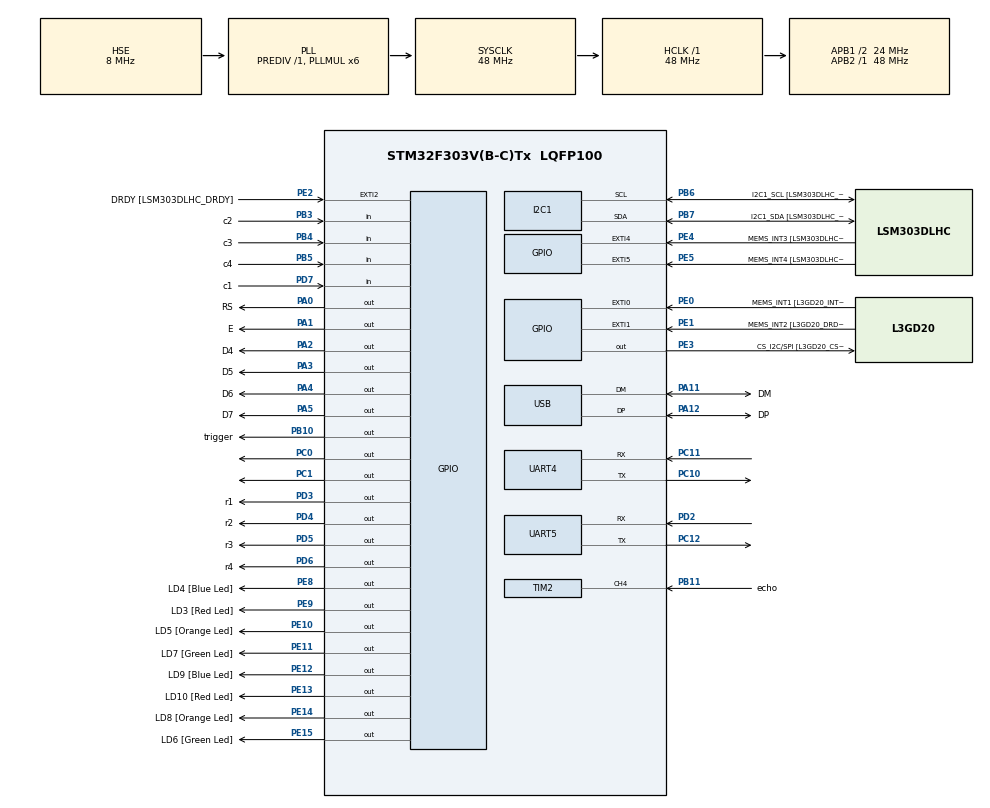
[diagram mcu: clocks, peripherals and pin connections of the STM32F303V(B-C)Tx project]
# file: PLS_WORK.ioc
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I2C1.Timing=0x2000090E
I2C1.Timing-I2C=0x2000090E
Mcu.Family=STM32F3
Mcu.Name=STM32F303V(B-C)Tx
Mcu.Package=LQFP100
NVIC.PriorityGroup=NVIC_PRIORITYGROUP_0
NVIC.TIM2_IRQn=true\:0\:0\:false\:false\:true\:true\:true\:true
NVIC.TIM4_IRQn=true\:0\:0\:false\:false\:true\:true\:true\:true
NVIC.UART4_IRQn=true\:0\:0\:false\:false\:true\:true\:true\:true
NVIC.UART5_IRQn=true\:0\:0\:false\:false\:true\:true\:true\:true
PA0.GPIO_Label=RS
PA0.Signal=GPIO_Output
PA1.GPIO_Label=E
PA1.Signal=GPIO_Output
PA11.GPIO_Label=DM
PA11.Mode=Device
PA11.Signal=USB_DM
PA12.GPIO_Label=DP
PA12.Mode=Device
PA12.Signal=USB_DP
PA13.GPIO_Label=SWDIO
PA13.Mode=Serial_Wire
PA13.Signal=SYS_JTMS-SWDIO
PA14.GPIO_Label=SWCLK
PA14.Mode=Serial_Wire
PA14.Signal=SYS_JTCK-SWCLK
PA2.GPIO_Label=D4
PA2.Signal=GPIO_Output
PA3.GPIO_Label=D5
PA3.Signal=GPIO_Output
PA4.GPIO_Label=D6
PA4.Signal=GPIO_Output
PA5.GPIO_Label=D7
PA5.Signal=GPIO_Output
PA6.GPIO_Label=SPI1_MISO [L3GD20_SA0/SDO]
PA6.Signal=SPI1_MISO
PA7.GPIO_Label=SPI1_MISO [L3GD20_SDA/SDI/SDO]
PA7.Signal=SPI1_MOSI
PB10.GPIO_Label=trigger
PB10.Signal=GPIO_Output
PB11.GPIO_Label=echo
PB11.Signal=S_TIM2_CH4
PB3.GPIO_Label=c2
PB3.GPIO_PuPd=GPIO_PULLUP
PB3.Signal=GPIO_Input
PB4.GPIO_Label=c3
PB4.GPIO_PuPd=GPIO_PULLUP
PB4.Signal=GPIO_Input
PB5.GPIO_Label=c4
PB5.GPIO_PuPd=GPIO_PULLUP
PB5.Signal=GPIO_Input
PB6.GPIO_Label=I2C1_SCL [LSM303DLHC_SCL]
PB6.GPIO_Pu=GPIO_PULLUP
PB6.Mode=I2C
PB6.Signal=I2C1_SCL
PB7.GPIO_Label=I2C1_SDA [LSM303DLHC_SDA]
PB7.GPIO_Pu=GPIO_PULLUP
PB7.Mode=I2C
PB7.Signal=I2C1_SDA
PC0.Signal=GPIO_Output
PC1.Signal=GPIO_Output
PC10.Mode=Asynchronous
PC10.Signal=UART4_TX
PC11.Mode=Asynchronous
PC11.Signal=UART4_RX
PC12.Mode=Asynchronous
PC12.Signal=UART5_TX
PC14-OSC32_IN.GPIO_Label=OSC32_IN
PC14-OSC32_IN.Signal=RCC_OSC32_IN
PC15-OSC32_OUT.GPIO_Label=OSC32_OUT
PC15-OSC32_OUT.Signal=RCC_OSC32_OUT
PD2.Mode=Asynchronous
PD2.Signal=UART5_RX
PD3.GPIO_Label=r1
PD3.Signal=GPIO_Output
PD4.GPIO_Label=r2
PD4.Signal=GPIO_Output
PD5.GPIO_Label=r3
PD5.Signal=GPIO_Output
PD6.GPIO_Label=r4
PD6.Signal=GPIO_Output
PD7.GPIO_Label=c1
PD7.GPIO_PuPd=GPIO_PULLUP
PD7.Signal=GPIO_Input
PE0.GPIO_Label=MEMS_INT1 [L3GD20_INT1]
PE0.GPIO_ModeDefaultEXTI=GPIO_MODE_EVT_RISING
PE0.Signal=GPXTI0
PE1.GPIO_Label=MEMS_INT2 [L3GD20_DRDY/INT2]
PE1.GPIO_ModeDefaultEXTI=GPIO_MODE_EVT_RISING
PE1.Signal=GPXTI1
PE10.GPIO_Label=LD5 [Orange Led]
PE10.Signal=GPIO_Output
PE11.GPIO_Label=LD7 [Green Led]
PE11.Signal=GPIO_Output
PE12.GPIO_Label=LD9 [Blue Led]
PE12.Signal=GPIO_Output
PE13.GPIO_Label=LD10 [Red Led]
PE13.Signal=GPIO_Output
PE14.GPIO_Label=LD8 [Orange Led]
PE14.Signal=GPIO_Output
PE15.GPIO_Label=LD6 [Green Led]
PE15.Signal=GPIO_Output
PE2.GPIO_Label=DRDY [LSM303DLHC_DRDY]
PE2.GPIO_ModeDefaultEXTI=GPIO_MODE_EVT_RISING
PE2.Signal=GPXTI2
PE3.GPIO_Label=CS_I2C/SPI [L3GD20_CS_I2C/SPI]
PE3.Signal=GPIO_Output
PE4.GPIO_Label=MEMS_INT3 [LSM303DLHC_INT1]
PE4.GPIO_ModeDefaultEXTI=GPIO_MODE_EVT_RISING
PE4.Signal=GPXTI4
PE5.GPIO_Label=MEMS_INT4 [LSM303DLHC_INT2]
PE5.GPIO_ModeDefaultEXTI=GPIO_MODE_EVT_RISING
PE5.Signal=GPXTI5
PE8.GPIO_Label=LD4 [Blue Led]
PE8.Signal=GPIO_Output
PE9.GPIO_Label=LD3 [Red Led]
PE9.Signal=GPIO_Output
PF0-OSC_IN.GPIO_Label=OSC_IN
PF0-OSC_IN.Mode=HSE-External-Clock-Source
PF0-OSC_IN.Signal=RCC_OSC_IN
PF1-OSC_OUT.GPIO_Label=OSC_OUT
PF1-OSC_OUT.Signal=RCC_OSC_OUT
ProjectManager.HeapSize=0x200
ProjectManager.StackSize=0x400
ProjectManager.TargetToolchain=STM32CubeIDE
RCC.AHBFreq_Value=48000000
RCC.APB1CLKDivider=RCC_HCLK_DIV2
RCC.APB1Freq_Value=24000000
RCC.APB1TimFreq_Value=48000000
RCC.APB2Freq_Value=48000000
RCC.APB2TimFreq_Value=48000000
RCC.CortexFreq_Value=48000000
RCC.HCLKFreq_Value=48000000
RCC.HSE_VALUE=8000000
RCC.HSI_VALUE=8000000
RCC.LSE_VALUE=32768
RCC.PLLMUL=RCC_PLL_MUL6
RCC.SYSCLKFreq_VALUE=48000000
RCC.SYSCLKSourceVirtual=RCC_SYSCLKSOURCE_PLLCLK
RCC.USBFreq_Value=48000000
SH.S_TIM2_CH4.0=TIM2_CH4,Input_Capture4_from_TI4
TIM2.Channel-Input_Capture4_from_TI4=TIM_CHANNEL_4
TIM2.Period=65535
TIM2.Prescaler=72-1
TIM4.Period=44999
TIM4.Prescaler=9599
VP_TIM4_VS_ClockSourceINT.Mode=Internal
board=STM32F3DISCOVERY

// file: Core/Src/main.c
/* USER CODE BEGIN Header */
/**
  ******************************************************************************
  * @file           : main.c
  * @brief          : Main program body
  ******************************************************************************
  * @attention
  *
  * Copyright (c) 2025 STMicroelectronics.
  * All rights reserved.
  *
  * This software is licensed under terms that can be found in the LICENSE file
  * in the root directory of this software component.
  * If no LICENSE file comes with this software, it is provided AS-IS.
  *
  ******************************************************************************
  */
/* USER CODE END Header */
#include "main.h"

/* USER CODE BEGIN Includes */
#include "string.h"
#include "lcd.h"
/* USER CODE END Includes */

/* USER CODE BEGIN PD */
//#define RX_BUFFER_SIZE 10
//#define TIMER_TIMEOUT 7000  // Timeout in millisecondi (5 secondi)
/* USER CODE END PD */

I2C_HandleTypeDef hi2c1;

TIM_HandleTypeDef htim2;
TIM_HandleTypeDef htim4;

UART_HandleTypeDef huart4;
UART_HandleTypeDef huart5;

PCD_HandleTypeDef hpcd_USB_FS;

/* USER CODE BEGIN PV */

int32_t ic_val1 = 0;
uint32_t ic_val2 = 0;
uint8_t is_first_captured = 0;
uint32_t difference = 0;
float distance = 50;
int cont_a = 0;
char codice_digitato[MAX_CODICE];
uint8_t indice = 0;
//char msg[] ="Put 1";
//char msg1[] ="Put 2";//const char msg[] = "ALARM \r\n";
const char codice_corretto[] = "1926";
//const char* error_msg = "Fault\r\n";
//suint8_t rx_buffer[RX_BUFFER_SIZE];
uint32_t last_message_time = 0;  // Tempo dell'ultimo messaggio "tutto_ok"
uint8_t timer_started = 0;       // Flag per indicare se il timer è stato avviato
uint8_t timeout_flag = 0;        // Flag per indicare se è scaduto il timeout
StatoSistema stato_corrente = STATO_DISARMATO;
char tasto;
uint32_t Alarm = 0x42;
uint32_t Stop = 0x44;
uint32_t Wake = 0x46;
uint32_t rx_buffer;

/* USER CODE END PV */

void SystemClock_Config(void);
static void MX_GPIO_Init(void);
static void MX_I2C1_Init(void);
static void MX_USB_PCD_Init(void);
static void MX_TIM2_Init(void);
static void MX_TIM4_Init(void);
static void MX_UART4_Init(void);
static void MX_UART5_Init(void);
/* USER CODE BEGIN PFP */
void HCSR04_Trigger(void);

/* USER CODE END PFP */

/* USER CODE BEGIN 0 */
uint8_t verifica_codice(void) {
    return (strcmp(codice_digitato, codice_corretto) == 0);
}

#define KEYPAD_PORT GPIOD

const char tasti[4][4] = {
    {'1', '2', '3', 'A'},
    {'4', '5', '6', 'B'},
    {'7', '8', '9', 'C'},
    {'*', '0', '#', 'D'}
};

uint16_t righe[4] = {r1_Pin, r2_Pin, r3_Pin, r4_Pin}; // R1-R4
uint16_t colonne[4] = {c1_Pin, c2_Pin, c3_Pin, c4_Pin}; // C1-C4
GPIO_TypeDef* colonne_port[4] = {GPIOD, GPIOB, GPIOB, GPIOB};
char leggi_tasto(void) {
    for (int r = 0; r < 4; r++) {
        // Imposta tutte le righe alte
        for (int i = 0; i < 4; i++) {
            HAL_GPIO_WritePin(GPIOD, righe[i], GPIO_PIN_SET);
        }

        // Porta a 0 solo la riga corrente
        HAL_GPIO_WritePin(GPIOD, righe[r], GPIO_PIN_RESET);
        HAL_Delay(1);

        // Scansiona le colonne
        for (int c = 0; c < 4; c++) {
            if (HAL_GPIO_ReadPin(colonne_port[c], colonne[c]) == GPIO_PIN_RESET) {
                while (HAL_GPIO_ReadPin(colonne_port[c], colonne[c]) == GPIO_PIN_RESET); // attesa rilascio
                HAL_Delay(10); // debounce
                gestisci_tasto(tasti[r][c]);
                return tasti[r][c];
            }
        }
    }
    return '\0'; // Nessun tasto premuto
}

void HCSR04_Trigger(void) {
    HAL_GPIO_WritePin(trigger_GPIO_Port, trigger_Pin, GPIO_PIN_RESET);
    HAL_Delay(1);  // 1 ms
    HAL_GPIO_WritePin(trigger_GPIO_Port, trigger_Pin, GPIO_PIN_SET);
    HAL_Delay(0.01);  // 10 µs
    HAL_GPIO_WritePin(trigger_GPIO_Port, trigger_Pin, GPIO_PIN_RESET);
}
/* USER CODE END 0 */

int main(void)
{

  /* MCU Configuration--------------------------------------------------------*/

  /* Reset of all peripherals, Initializes the Flash interface and the Systick. */
  HAL_Init();

  /* Configure the system clock */
  SystemClock_Config();

  /* Initialize all configured peripherals */
  MX_GPIO_Init();
  MX_I2C1_Init();
  MX_USB_PCD_Init();
  MX_TIM2_Init();
  MX_TIM4_Init();
  MX_UART4_Init();
  MX_UART5_Init();

  /* USER CODE BEGIN 2 */
  LCD_Init();
   HAL_GPIO_WritePin(GPIOE, LD6_Pin, GPIO_PIN_SET);
   HAL_GPIO_WritePin(GPIOE, LD3_Pin, GPIO_PIN_RESET);
   HAL_GPIO_WritePin(GPIOC, GPIO_PIN_0, GPIO_PIN_SET); // PC0 ON
   HAL_GPIO_WritePin(GPIOE, LD4_Pin, GPIO_PIN_RESET);

   HAL_UART_Receive_IT(&huart4, (uint8_t*)&rx_buffer, sizeof(uint32_t));

  /* USER CODE END 2 */

  /* Infinite loop */
  while (1)
  {
	  /* USER CODE END WHILE */
	  	  tasto = leggi_tasto();

	  	        if (tasto != '\0') {

	  	            if (tasto == '#') {
	  	                codice_digitato[indice] = '\0';

	  	                if (verifica_codice()) {
	  	                	LCD_Set_Cursor(1, 0);
	  	                	LCD_Send_String("                ");

	  	                    if (stato_corrente == STATO_DISARMATO) {
	  	                        stato_corrente = STATO_ARMATO;
	  	                        LCD_Set_Cursor(1, 0);
	  	                        LCD_Send_String("ARMATO");
	  	                        HAL_GPIO_WritePin(GPIOE, LD3_Pin, GPIO_PIN_SET);   // LED rosso ON
	  	                        HAL_GPIO_WritePin(GPIOE, LD6_Pin, GPIO_PIN_RESET); // LED verde OFF
	  	                        HAL_GPIO_WritePin(GPIOC, GPIO_PIN_0, GPIO_PIN_RESET); // PC0 OFF
	  	                        HAL_GPIO_WritePin(GPIOC, GPIO_PIN_1, GPIO_PIN_SET); // PC1 ON

	  	                    } else {
	  	                        stato_corrente = STATO_DISARMATO;
	  	                        cont_a = 0;
	  	                        LCD_Set_Cursor(1, 0);
	  	                        LCD_Send_String("DISARMATO");
	  	                        timer_started = 0;
	  	                        HAL_TIM_Base_Stop_IT(&htim4);  // Ferma il timer

	  	                        //HAL_TIM_Base_DeInit(&htim4);
	  	                        HAL_GPIO_WritePin(GPIOE, LD3_Pin, GPIO_PIN_RESET); // LED blu OFF
	  	                        HAL_GPIO_WritePin(GPIOE, LD6_Pin, GPIO_PIN_SET);   // LED rosso ON
	  	                        HAL_GPIO_WritePin(GPIOC, GPIO_PIN_0, GPIO_PIN_SET); // PC0 ON
	  	                        HAL_GPIO_WritePin(GPIOC, GPIO_PIN_1, GPIO_PIN_RESET); // PC1 OFF
	  	                        HAL_UART_Transmit(&huart4, (uint8_t*)&Stop, sizeof(uint32_t), HAL_MAX_DELAY);//stop a B
	  	                        HAL_UART_Transmit(&huart5, (uint8_t*)&Stop, sizeof(uint32_t), HAL_MAX_DELAY);//stop a C

	  	                    }
	  	                } //else {
	  	                    //HAL_UART_Transmit(&huart2, (uint8_t*)"Codice errato\r\n", 16, HAL_MAX_DELAY);

	  	                indice = 0;

	  	            } else if (tasto == '*') {
	  	                indice = 0; // reset
	  	            } else {
	  	                if (indice < MAX_CODICE - 1) {
	  	                    codice_digitato[indice++] = tasto;

	  	                }
	  	            }
	  	        }

	  	        // LED di stato
	  	        if (stato_corrente == STATO_ARMATO) {
	  	            HCSR04_Trigger();
	  	                                   HAL_TIM_IC_Start_IT(&htim2, TIM_CHANNEL_4);

	  	                                  HAL_Delay(10);

	  	                                  if (distance < 30.0f) {

	  	                                      HAL_GPIO_WritePin(GPIOE, LD4_Pin, GPIO_PIN_SET);
	  	                                      cont_a++;
	  	  									if(cont_a == 1){
	  	  										LCD_Set_Cursor(1, 0);
	  	  										LCD_Send_String("ALLARME");

	  	  				                        HAL_UART_Transmit(&huart4, (uint8_t*)&Alarm, sizeof(uint32_t), HAL_MAX_DELAY);
	  	  					                   // 2 è alarm
	  	  					                   //HAL_GPIO_WritePin(GPIOE, LD3_Pin, GPIO_PIN_RESET);
	  	  									}
	  	                                  } else {

	  	                                      HAL_GPIO_WritePin(GPIOE, LD4_Pin, GPIO_PIN_RESET);

	  	                                  }

	  	        }
	  	        /*
	  	        if (timeout_flag) {
	  	                    // Timeout scaduto, invia il messaggio di errore a C tramite USART3
	  	                    HAL_UART_Transmit(&huart5, (uint8_t*)error_msg, strlen(error_msg), 1000);

	  	                    // Resetta il flag per il prossimo controllo
	  	                    timeout_flag = 0;
	  	                }
	  			*/
	  	        HAL_Delay(50);  // debounce

	    }

}

void SystemClock_Config(void)
{
  RCC_OscInitTypeDef RCC_OscInitStruct = {0};
  RCC_ClkInitTypeDef RCC_ClkInitStruct = {0};
  RCC_PeriphCLKInitTypeDef PeriphClkInit = {0};

  /** Initializes the RCC Oscillators according to the specified parameters
  * in the RCC_OscInitTypeDef structure.
  */
  RCC_OscInitStruct.OscillatorType = RCC_OSCILLATORTYPE_HSI|RCC_OSCILLATORTYPE_HSE;
  RCC_OscInitStruct.HSEState = RCC_HSE_BYPASS;
  RCC_OscInitStruct.HSEPredivValue = RCC_HSE_PREDIV_DIV1;
  RCC_OscInitStruct.HSIState = RCC_HSI_ON;
  RCC_OscInitStruct.HSICalibrationValue = RCC_HSICALIBRATION_DEFAULT;
  RCC_OscInitStruct.PLL.PLLState = RCC_PLL_ON;
  RCC_OscInitStruct.PLL.PLLSource = RCC_PLLSOURCE_HSE;
  RCC_OscInitStruct.PLL.PLLMUL = RCC_PLL_MUL6;
  if (HAL_RCC_OscConfig(&RCC_OscInitStruct) != HAL_OK)
  {
    Error_Handler();
  }

  /** Initializes the CPU, AHB and APB buses clocks
  */
  RCC_ClkInitStruct.ClockType = RCC_CLOCKTYPE_HCLK|RCC_CLOCKTYPE_SYSCLK
                              |RCC_CLOCKTYPE_PCLK1|RCC_CLOCKTYPE_PCLK2;
  RCC_ClkInitStruct.SYSCLKSource = RCC_SYSCLKSOURCE_PLLCLK;
  RCC_ClkInitStruct.AHBCLKDivider = RCC_SYSCLK_DIV1;
  RCC_ClkInitStruct.APB1CLKDivider = RCC_HCLK_DIV2;
  RCC_ClkInitStruct.APB2CLKDivider = RCC_HCLK_DIV1;

  if (HAL_RCC_ClockConfig(&RCC_ClkInitStruct, FLASH_LATENCY_1) != HAL_OK)
  {
    Error_Handler();
  }
  PeriphClkInit.PeriphClockSelection = RCC_PERIPHCLK_USB|RCC_PERIPHCLK_UART4
                              |RCC_PERIPHCLK_UART5|RCC_PERIPHCLK_I2C1;
  PeriphClkInit.Uart4ClockSelection = RCC_UART4CLKSOURCE_PCLK1;
  PeriphClkInit.Uart5ClockSelection = RCC_UART5CLKSOURCE_PCLK1;
  PeriphClkInit.I2c1ClockSelection = RCC_I2C1CLKSOURCE_HSI;
  PeriphClkInit.USBClockSelection = RCC_USBCLKSOURCE_PLL;
  if (HAL_RCCEx_PeriphCLKConfig(&PeriphClkInit) != HAL_OK)
  {
    Error_Handler();
  }
}

static void MX_I2C1_Init(void)
{

  hi2c1.Instance = I2C1;
  hi2c1.Init.Timing = 0x2000090E;
  hi2c1.Init.OwnAddress1 = 0;
  hi2c1.Init.AddressingMode = I2C_ADDRESSINGMODE_7BIT;
  hi2c1.Init.DualAddressMode = I2C_DUALADDRESS_DISABLE;
  hi2c1.Init.OwnAddress2 = 0;
  hi2c1.Init.OwnAddress2Masks = I2C_OA2_NOMASK;
  hi2c1.Init.GeneralCallMode = I2C_GENERALCALL_DISABLE;
  hi2c1.Init.NoStretchMode = I2C_NOSTRETCH_DISABLE;
  if (HAL_I2C_Init(&hi2c1) != HAL_OK)
  {
    Error_Handler();
  }

  /** Configure Analogue filter
  */
  if (HAL_I2CEx_ConfigAnalogFilter(&hi2c1, I2C_ANALOGFILTER_ENABLE) != HAL_OK)
  {
    Error_Handler();
  }

  /** Configure Digital filter
  */
  if (HAL_I2CEx_ConfigDigitalFilter(&hi2c1, 0) != HAL_OK)
  {
    Error_Handler();
  }

}

static void MX_TIM2_Init(void)
{

  TIM_MasterConfigTypeDef sMasterConfig = {0};
  TIM_IC_InitTypeDef sConfigIC = {0};

  htim2.Instance = TIM2;
  htim2.Init.Prescaler = 72-1;
  htim2.Init.CounterMode = TIM_COUNTERMODE_UP;
  htim2.Init.Period = 65535;
  htim2.Init.ClockDivision = TIM_CLOCKDIVISION_DIV1;
  htim2.Init.AutoReloadPreload = TIM_AUTORELOAD_PRELOAD_DISABLE;
  if (HAL_TIM_IC_Init(&htim2) != HAL_OK)
  {
    Error_Handler();
  }
  sMasterConfig.MasterOutputTrigger = TIM_TRGO_RESET;
  sMasterConfig.MasterSlaveMode = TIM_MASTERSLAVEMODE_DISABLE;
  if (HAL_TIMEx_MasterConfigSynchronization(&htim2, &sMasterConfig) != HAL_OK)
  {
    Error_Handler();
  }
  sConfigIC.ICPolarity = TIM_INPUTCHANNELPOLARITY_RISING;
  sConfigIC.ICSelection = TIM_ICSELECTION_DIRECTTI;
  sConfigIC.ICPrescaler = TIM_ICPSC_DIV1;
  sConfigIC.ICFilter = 0;
  if (HAL_TIM_IC_ConfigChannel(&htim2, &sConfigIC, TIM_CHANNEL_4) != HAL_OK)
  {
    Error_Handler();
  }

}

static void MX_TIM4_Init(void)
{

  TIM_ClockConfigTypeDef sClockSourceConfig = {0};
  TIM_MasterConfigTypeDef sMasterConfig = {0};

  htim4.Instance = TIM4;
  htim4.Init.Prescaler = 9599;
  htim4.Init.CounterMode = TIM_COUNTERMODE_UP;
  htim4.Init.Period = 44999;
  htim4.Init.ClockDivision = TIM_CLOCKDIVISION_DIV1;
  htim4.Init.AutoReloadPreload = TIM_AUTORELOAD_PRELOAD_DISABLE;
  if (HAL_TIM_Base_Init(&htim4) != HAL_OK)
  {
    Error_Handler();
  }
  sClockSourceConfig.ClockSource = TIM_CLOCKSOURCE_INTERNAL;
  if (HAL_TIM_ConfigClockSource(&htim4, &sClockSourceConfig) != HAL_OK)
  {
    Error_Handler();
  }
  sMasterConfig.MasterOutputTrigger = TIM_TRGO_RESET;
  sMasterConfig.MasterSlaveMode = TIM_MASTERSLAVEMODE_DISABLE;
  if (HAL_TIMEx_MasterConfigSynchronization(&htim4, &sMasterConfig) != HAL_OK)
  {
    Error_Handler();
  }

}

static void MX_UART4_Init(void)
{

  huart4.Instance = UART4;
  huart4.Init.BaudRate = 115200;
  huart4.Init.WordLength = UART_WORDLENGTH_8B;
  huart4.Init.StopBits = UART_STOPBITS_1;
  huart4.Init.Parity = UART_PARITY_NONE;
  huart4.Init.Mode = UART_MODE_TX_RX;
  huart4.Init.HwFlowCtl = UART_HWCONTROL_NONE;
  huart4.Init.OverSampling = UART_OVERSAMPLING_16;
  huart4.Init.OneBitSampling = UART_ONE_BIT_SAMPLE_DISABLE;
  huart4.AdvancedInit.AdvFeatureInit = UART_ADVFEATURE_NO_INIT;
  if (HAL_UART_Init(&huart4) != HAL_OK)
  {
    Error_Handler();
  }

}

static void MX_UART5_Init(void)
{

  huart5.Instance = UART5;
  huart5.Init.BaudRate = 115200;
  huart5.Init.WordLength = UART_WORDLENGTH_8B;
  huart5.Init.StopBits = UART_STOPBITS_1;
  huart5.Init.Parity = UART_PARITY_NONE;
  huart5.Init.Mode = UART_MODE_TX_RX;
  huart5.Init.HwFlowCtl = UART_HWCONTROL_NONE;
  huart5.Init.OverSampling = UART_OVERSAMPLING_16;
  huart5.Init.OneBitSampling = UART_ONE_BIT_SAMPLE_DISABLE;
  huart5.AdvancedInit.AdvFeatureInit = UART_ADVFEATURE_NO_INIT;
  if (HAL_UART_Init(&huart5) != HAL_OK)
  {
    Error_Handler();
  }

}

static void MX_USB_PCD_Init(void)
{

  hpcd_USB_FS.Instance = USB;
  hpcd_USB_FS.Init.dev_endpoints = 8;
  hpcd_USB_FS.Init.speed = PCD_SPEED_FULL;
  hpcd_USB_FS.Init.phy_itface = PCD_PHY_EMBEDDED;
  hpcd_USB_FS.Init.low_power_enable = DISABLE;
  hpcd_USB_FS.Init.battery_charging_enable = DISABLE;
  if (HAL_PCD_Init(&hpcd_USB_FS) != HAL_OK)
  {
    Error_Handler();
  }

}

static void MX_GPIO_Init(void)
{
  GPIO_InitTypeDef GPIO_InitStruct = {0};

  /* GPIO Ports Clock Enable */
  __HAL_RCC_GPIOE_CLK_ENABLE();
  __HAL_RCC_GPIOC_CLK_ENABLE();
  __HAL_RCC_GPIOF_CLK_ENABLE();
  __HAL_RCC_GPIOA_CLK_ENABLE();
  __HAL_RCC_GPIOB_CLK_ENABLE();
  __HAL_RCC_GPIOD_CLK_ENABLE();

  /*Configure GPIO pin Output Level */
  HAL_GPIO_WritePin(GPIOE, CS_I2C_SPI_Pin|LD4_Pin|LD3_Pin|LD5_Pin
                          |LD7_Pin|LD9_Pin|LD10_Pin|LD8_Pin
                          |LD6_Pin, GPIO_PIN_RESET);

  /*Configure GPIO pin Output Level */
  HAL_GPIO_WritePin(GPIOC, GPIO_PIN_0|GPIO_PIN_1, GPIO_PIN_RESET);

  /*Configure GPIO pin Output Level */
  HAL_GPIO_WritePin(GPIOA, RS_Pin|E_Pin|D4_Pin|D5_Pin
                          |D6_Pin|D7_Pin, GPIO_PIN_RESET);

  /*Configure GPIO pin Output Level */
  HAL_GPIO_WritePin(trigger_GPIO_Port, trigger_Pin, GPIO_PIN_RESET);

  /*Configure GPIO pin Output Level */
  HAL_GPIO_WritePin(GPIOD, r1_Pin|r2_Pin|r3_Pin|r4_Pin, GPIO_PIN_RESET);

  /*Configure GPIO pins : DRDY_Pin MEMS_INT3_Pin MEMS_INT4_Pin MEMS_INT1_Pin
                           MEMS_INT2_Pin */
  GPIO_InitStruct.Pin = DRDY_Pin|MEMS_INT3_Pin|MEMS_INT4_Pin|MEMS_INT1_Pin
                          |MEMS_INT2_Pin;
  GPIO_InitStruct.Mode = GPIO_MODE_EVT_RISING;
  GPIO_InitStruct.Pull = GPIO_NOPULL;
  HAL_GPIO_Init(GPIOE, &GPIO_InitStruct);

  /*Configure GPIO pins : CS_I2C_SPI_Pin LD4_Pin LD3_Pin LD5_Pin
                           LD7_Pin LD9_Pin LD10_Pin LD8_Pin
                           LD6_Pin */
  GPIO_InitStruct.Pin = CS_I2C_SPI_Pin|LD4_Pin|LD3_Pin|LD5_Pin
                          |LD7_Pin|LD9_Pin|LD10_Pin|LD8_Pin
                          |LD6_Pin;
  GPIO_InitStruct.Mode = GPIO_MODE_OUTPUT_PP;
  GPIO_InitStruct.Pull = GPIO_NOPULL;
  GPIO_InitStruct.Speed = GPIO_SPEED_FREQ_LOW;
  HAL_GPIO_Init(GPIOE, &GPIO_InitStruct);

  /*Configure GPIO pins : PC0 PC1 */
  GPIO_InitStruct.Pin = GPIO_PIN_0|GPIO_PIN_1;
  GPIO_InitStruct.Mode = GPIO_MODE_OUTPUT_PP;
  GPIO_InitStruct.Pull = GPIO_NOPULL;
  GPIO_InitStruct.Speed = GPIO_SPEED_FREQ_LOW;
  HAL_GPIO_Init(GPIOC, &GPIO_InitStruct);

  /*Configure GPIO pins : RS_Pin E_Pin D4_Pin D5_Pin
                           D6_Pin D7_Pin */
  GPIO_InitStruct.Pin = RS_Pin|E_Pin|D4_Pin|D5_Pin
                          |D6_Pin|D7_Pin;
  GPIO_InitStruct.Mode = GPIO_MODE_OUTPUT_PP;
  GPIO_InitStruct.Pull = GPIO_NOPULL;
  GPIO_InitStruct.Speed = GPIO_SPEED_FREQ_LOW;
  HAL_GPIO_Init(GPIOA, &GPIO_InitStruct);

  /*Configure GPIO pins : SPI1_MISO_Pin SPI1_MISOA7_Pin */
  GPIO_InitStruct.Pin = SPI1_MISO_Pin|SPI1_MISOA7_Pin;
  GPIO_InitStruct.Mode = GPIO_MODE_AF_PP;
  GPIO_InitStruct.Pull = GPIO_NOPULL;
  GPIO_InitStruct.Speed = GPIO_SPEED_FREQ_HIGH;
  GPIO_InitStruct.Alternate = GPIO_AF5_SPI1;
  HAL_GPIO_Init(GPIOA, &GPIO_InitStruct);

  /*Configure GPIO pin : trigger_Pin */
  GPIO_InitStruct.Pin = trigger_Pin;
  GPIO_InitStruct.Mode = GPIO_MODE_OUTPUT_PP;
  GPIO_InitStruct.Pull = GPIO_NOPULL;
  GPIO_InitStruct.Speed = GPIO_SPEED_FREQ_LOW;
  HAL_GPIO_Init(trigger_GPIO_Port, &GPIO_InitStruct);

  /*Configure GPIO pins : r1_Pin r2_Pin r3_Pin r4_Pin */
  GPIO_InitStruct.Pin = r1_Pin|r2_Pin|r3_Pin|r4_Pin;
  GPIO_InitStruct.Mode = GPIO_MODE_OUTPUT_PP;
  GPIO_InitStruct.Pull = GPIO_NOPULL;
  GPIO_InitStruct.Speed = GPIO_SPEED_FREQ_LOW;
  HAL_GPIO_Init(GPIOD, &GPIO_InitStruct);

  /*Configure GPIO pin : c1_Pin */
  GPIO_InitStruct.Pin = c1_Pin;
  GPIO_InitStruct.Mode = GPIO_MODE_INPUT;
  GPIO_InitStruct.Pull = GPIO_PULLUP;
  HAL_GPIO_Init(c1_GPIO_Port, &GPIO_InitStruct);

  /*Configure GPIO pins : c2_Pin c3_Pin c4_Pin */
  GPIO_InitStruct.Pin = c2_Pin|c3_Pin|c4_Pin;
  GPIO_InitStruct.Mode = GPIO_MODE_INPUT;
  GPIO_InitStruct.Pull = GPIO_PULLUP;
  HAL_GPIO_Init(GPIOB, &GPIO_InitStruct);

}

/* USER CODE BEGIN 4 */
void HAL_TIM_IC_CaptureCallback(TIM_HandleTypeDef *htim) {
    if (htim->Channel == HAL_TIM_ACTIVE_CHANNEL_4) {
        if (is_first_captured == 0) {
            ic_val1 = HAL_TIM_ReadCapturedValue(htim, TIM_CHANNEL_4);
            is_first_captured = 1;
            __HAL_TIM_SET_CAPTUREPOLARITY(htim, TIM_CHANNEL_4, TIM_INPUTCHANNELPOLARITY_FALLING);
        } else {
            ic_val2 = HAL_TIM_ReadCapturedValue(htim, TIM_CHANNEL_4);
            __HAL_TIM_SET_COUNTER(htim, 0);

            if (ic_val2 > ic_val1)
                difference = ic_val2 - ic_val1;
            else
                difference = (0xFFFF - ic_val1 + ic_val2);

            distance = (float)difference * 0.0343 / 2.0;
            is_first_captured = 0;

            __HAL_TIM_SET_CAPTUREPOLARITY(htim, TIM_CHANNEL_4, TIM_INPUTCHANNELPOLARITY_RISING);
            HAL_TIM_IC_Stop_IT(htim, TIM_CHANNEL_4);
        }
    }
}

void HAL_UART_RxCpltCallback(UART_HandleTypeDef *huart) {
			if(rx_buffer == 0x21){
			HAL_GPIO_TogglePin(GPIOE, GPIO_PIN_10);

            if (!timer_started) {
            	__HAL_TIM_SET_COUNTER(&htim4, 0);
                __HAL_TIM_CLEAR_FLAG(&htim4, TIM_FLAG_UPDATE);       //  Azzera anche il flag UIF
                HAL_TIM_Base_Start_IT(&htim4);   // Avvia il timer solo una volta
                timer_started = 1;
            }

            __HAL_TIM_SET_COUNTER(&htim4, 0);    // Azzera il timer ad ogni ricezione

			}
            HAL_UART_Receive_IT(&huart4, (uint8_t*)&rx_buffer, sizeof(uint32_t));

}

void HAL_TIM_PeriodElapsedCallback(TIM_HandleTypeDef *htim) {
    if (htim->Instance == TIM4) {
        if (timer_started) {
            timer_started = 0;
            HAL_TIM_Base_Stop_IT(&htim4);  // Ferma il timer
			HAL_GPIO_TogglePin(GPIOE, GPIO_PIN_13);

              HAL_UART_Transmit(&huart5, (uint8_t*)&Wake, sizeof(uint32_t), HAL_MAX_DELAY);
        }
    }
}

/* USER CODE END 4 */

void Error_Handler(void)
{
  __disable_irq();
  while (1)
  {
  }
}
